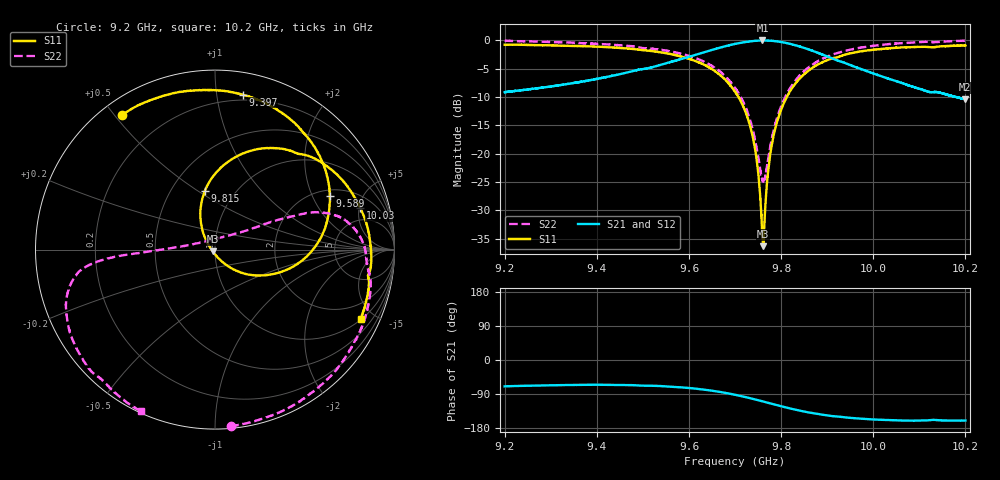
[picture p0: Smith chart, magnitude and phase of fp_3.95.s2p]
!Agilent Technologies,N5242A,MY51221714,A.09.90.19
!Agilent N5242A: A.09.90.19
!Date: Saturday, March 16, 2024 10:31:09
!Correction: S11(Full 2 Port(1,2))
!S21(Full 2 Port(1,2))
!S12(Full 2 Port(1,2))
!S22(Full 2 Port(1,2))
!S2P File: Measurements: S11, S21, S12, S22:
# Hz S  dB  R 50
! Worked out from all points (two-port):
!   16001 points, 9.2 GHz to 10.2 GHz, reference 50 ohm
!   highest |S21| = -0.05 dB at 9.759 GHz (marker M1); lowest = -10.4 dB at 10.2 GHz (marker M2)
!   |S21| within 3 dB of the highest: 9.595 GHz to 9.906 GHz (311 MHz wide, 3.19 % of centre); 9.906215 GHz to 9.906329 GHz (114.7 kHz wide, 0.00116 % of centre)
!   lowest |S11| = -36.3 dB at 9.761 GHz (marker M3), VSWR 1.03, Z = 48.8 - j0.872 ohm
!   |S11| at or under -10 dB: 9.707 GHz to 9.813 GHz (105.3 MHz wide, 1.08 % of centre)
!   |S22| runs from -25.0 to -0.1 dB; largest |S21 - S12| = 0.014
!   S11 on the Smith chart (normalised r, x): 9.2 GHz: 0.06, +0.52; 9.397 GHz: 0.16, +1.18; 9.589 GHz: 2.29, +2.73; 9.815 GHz: 0.73, +0.53; 10.03 GHz: 3.25, +5.15; 10.2 GHz: 1.05, -4.18
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9.2e9  -0.81 124.9  -9.16 -69.5  -9.16 -70.0  -0.10 -85.0
9.366688e9  -1.05 87.4  -7.33 -65.7  -7.31 -66.2  -0.53 -38.6
9.39725e9  -1.14 79.9  -6.87 -65.3  -6.85 -66.0  -0.64 -30.3
9.533375e9  -2.08 43.2  -4.48 -68.5  -4.48 -69.0  -1.65 2.3
9.588812e9  -3.02 25.0  -3.20 -72.7  -3.20 -73.3  -2.52 12.3
9.64425e9  -4.83 3.7  -1.86 -80.0  -1.85 -80.6  -4.29 19.8
9.7e9  -9.06 -22.7  -0.67 -91.8  -0.65 -92.4  -8.39 25.3
9.739062e9  -17.28 -49.0  -0.15 -102.6  -0.14 -103.3  -15.96 35.7
9.749438e9  -22.69 -60.6  -0.10 -105.9  -0.08 -106.5  -20.13 49.7
9.7595e9  -34.50 -113.2  -0.05 -109.1  -0.05 -109.7  -24.68 90.2
9.761e9  -36.30 -144.2  -0.06 -109.6  -0.06 -110.2  -24.86 99.5
9.764188e9  -31.77 164.0  -0.07 -110.5  -0.06 -111.2  -24.45 121.0
9.772875e9  -22.41 132.5  -0.09 -113.4  -0.09 -114.0  -20.46 156.4
9.781125e9  -17.92 123.2  -0.13 -116.0  -0.12 -116.7  -16.84 169.2
9.815188e9  -9.59 99.9  -0.57 -126.6  -0.58 -127.2  -9.08 -178.7
9.866688e9  -4.96 72.8  -1.85 -139.9  -1.83 -140.4  -4.40 -175.2
9.937688e9  -2.59 44.1  -4.00 -151.3  -4.00 -151.8  -1.92 -168.5
1.002675e10  -1.50 15.9  -6.62 -158.2  -6.62 -158.7  -0.75 -153.5
1.003338e10  -1.44 14.0  -6.80 -158.5  -6.80 -159.0  -0.70 -152.2
1.011488e10  -1.19 -7.1  -8.97 -159.6  -8.97 -160.1  -0.30 -135.4
1.019938e10  -0.94 -25.3  -10.42 -159.7  -10.40 -160.5  -0.09 -115.0
1.02e10  -0.94 -25.4  -10.40 -159.8  -10.40 -160.4  -0.08 -114.7
